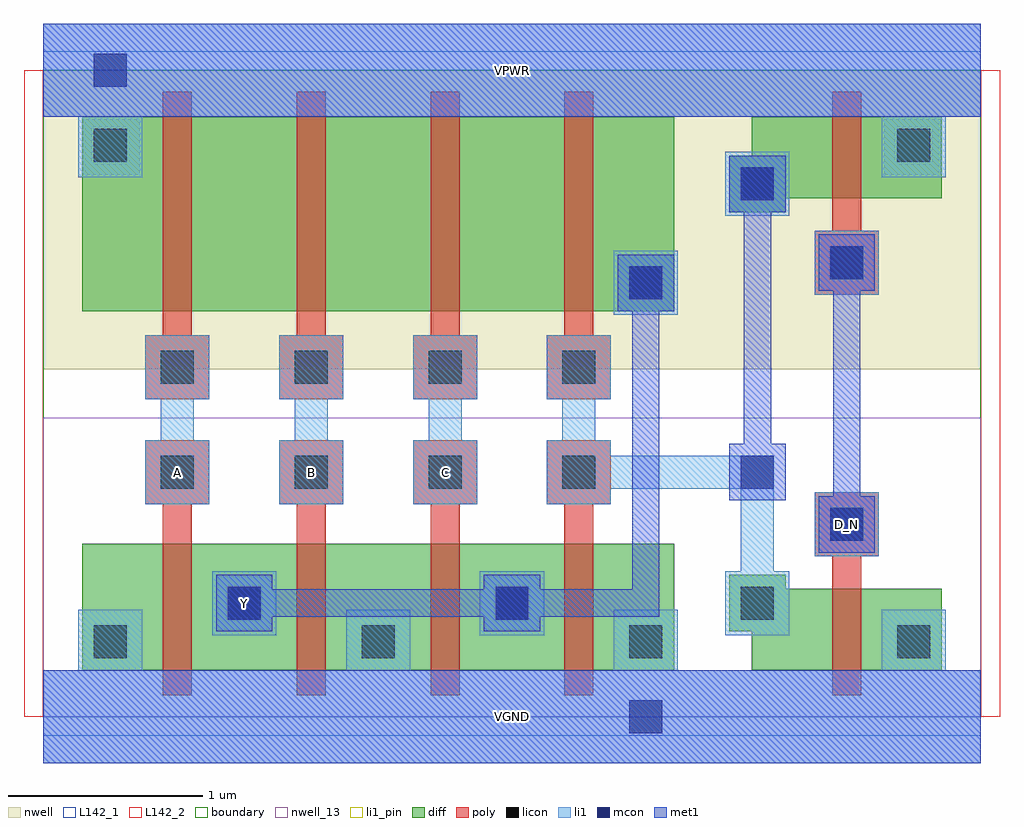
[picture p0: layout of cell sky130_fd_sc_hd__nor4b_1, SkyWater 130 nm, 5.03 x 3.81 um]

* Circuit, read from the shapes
.subckt sky130_fd_sc_hd__nor4b_1 A B C D_N VGND VPWR Y
XM1 Y A VGND VSUBS sky130_fd_pr__nfet_01v8 w=0.65 l=0.15
XM2 VGND B Y VSUBS sky130_fd_pr__nfet_01v8 w=0.65 l=0.15
XM3 Y C VGND VSUBS sky130_fd_pr__nfet_01v8 w=0.65 l=0.15
XM4 VGND n1 Y VSUBS sky130_fd_pr__nfet_01v8 w=0.65 l=0.15
XM5 VGND D_N n1 VSUBS sky130_fd_pr__nfet_01v8 w=0.42 l=0.15
XM6 n2 A VPWR n3 sky130_fd_pr__pfet_01v8 w=1 l=0.15
XM7 n4 B n2 n3 sky130_fd_pr__pfet_01v8 w=1 l=0.15
XM8 n5 C n4 n3 sky130_fd_pr__pfet_01v8 w=1 l=0.15
XM9 Y n1 n5 n3 sky130_fd_pr__pfet_01v8 w=1 l=0.15
XM10 VPWR D_N n1 n3 sky130_fd_pr__pfet_01v8 w=0.42 l=0.15
.ends

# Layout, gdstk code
import gdstk
lib = gdstk.Library(unit=1e-6, precision=1e-09)
def R(c, l, rs):  # rectangles x0, y0, x1, y1
    for r in rs: c.add(gdstk.rectangle(r[:2], r[2:], *l))
def A(c, l, x, y, w, h, nx, ny, dx, dy):  # array of equal rectangles
    R(c, l, [(x+i*dx, y+j*dy, x+i*dx+w, y+j*dy+h) for i in range(nx) for j in range(ny)])
def P(c, l, *ps):  # polygons
    for p in ps: c.add(gdstk.Polygon(p, *l))
nwell_13 = (64, 13)
nwell = (64, 20)
diff = (65, 20)
poly = (66, 20)
licon = (66, 44)
li1_pin = (67, 16)
li1 = (67, 20)
mcon = (67, 44)
met1 = (68, 20)
L142_1 = (142, 1)
L142_2 = (142, 2)
boundary = (235, 4)

sky130_fd_sc_hd__nor4b_1 = lib.new_cell('sky130_fd_sc_hd__nor4b_1')
R(sky130_fd_sc_hd__nor4b_1, nwell_13, [(0,0,4.83,1.54)])
R(sky130_fd_sc_hd__nor4b_1, nwell, [(0,1.79,4.83,3.33)])
A(sky130_fd_sc_hd__nor4b_1, diff, 0.615, 0.24, 0.69, 0.65, 3, 1, 0.69, 0)
A(sky130_fd_sc_hd__nor4b_1, diff, 0.615, 2.09, 0.69, 1, 3, 1, 0.69, 0)
R(sky130_fd_sc_hd__nor4b_1, diff, [(0.2,0.24,3.25,0.89), (0.2,0.24,0.615,0.89), (2.685,0.24,3.25,0.89), (3.65,0.24,4.63,0.66), (4.065,0.24,4.63,0.66), (0.2,2.09,3.25,3.09), (0.2,2.09,0.615,3.09), (2.685,2.09,3.25,3.09), (3.65,2.67,4.63,3.09), (4.065,2.67,4.63,3.09)])
P(sky130_fd_sc_hd__nor4b_1, diff, [(3.65,0.24),(3.65,0.44),(3.535,0.44),(3.535,0.73),(3.825,0.73),(3.825,0.66),(4.065,0.66),(4.065,0.24)],
  [(3.535,2.6),(3.535,2.89),(3.65,2.89),(3.65,3.09),(4.065,3.09),(4.065,2.67),(3.825,2.67),(3.825,2.6)])
P(sky130_fd_sc_hd__nor4b_1, poly, [(1.305,0.11),(1.305,1.095),(1.215,1.095),(1.215,1.425),(1.545,1.425),(1.545,1.095),(1.455,1.095),(1.455,0.11)],
  [(1.215,1.635),(1.215,1.965),(1.305,1.965),(1.305,3.22),(1.455,3.22),(1.455,1.965),(1.545,1.965),(1.545,1.635)],
  [(2.685,0.11),(2.685,1.095),(2.595,1.095),(2.595,1.425),(2.925,1.425),(2.925,1.095),(2.835,1.095),(2.835,0.11)],
  [(2.595,1.635),(2.595,1.965),(2.685,1.965),(2.685,3.22),(2.835,3.22),(2.835,1.965),(2.925,1.965),(2.925,1.635)],
  [(4.065,0.11),(4.065,0.825),(3.975,0.825),(3.975,1.155),(4.305,1.155),(4.305,0.825),(4.215,0.825),(4.215,0.11)],
  [(3.975,2.175),(3.975,2.505),(4.065,2.505),(4.065,3.22),(4.215,3.22),(4.215,2.505),(4.305,2.505),(4.305,2.175)],
  [(1.995,0.11),(1.995,1.095),(1.905,1.095),(1.905,1.425),(2.235,1.425),(2.235,1.095),(2.145,1.095),(2.145,0.11)],
  [(1.905,1.635),(1.905,1.965),(1.995,1.965),(1.995,3.22),(2.145,3.22),(2.145,1.965),(2.235,1.965),(2.235,1.635)],
  [(0.615,0.11),(0.615,1.095),(0.525,1.095),(0.525,1.425),(0.855,1.425),(0.855,1.095),(0.765,1.095),(0.765,0.11)],
  [(0.525,1.635),(0.525,1.965),(0.615,1.965),(0.615,3.22),(0.765,3.22),(0.765,1.965),(0.855,1.965),(0.855,1.635)])
A(sky130_fd_sc_hd__nor4b_1, licon, 0.26, 0.3, 0.17, 0.17, 4, 1, 1.38, 0)
A(sky130_fd_sc_hd__nor4b_1, licon, 0.605, 1.175, 0.17, 0.17, 4, 2, 0.69, 0.54)
R(sky130_fd_sc_hd__nor4b_1, licon, [(0.95,0.5,1.12,0.67), (2.33,0.5,2.5,0.67), (3.595,0.5,3.765,0.67), (4.055,0.905,4.225,1.075), (3.02,2.15,3.19,2.32), (4.055,2.255,4.225,2.425), (3.595,2.66,3.765,2.83), (0.26,2.86,0.43,3.03), (4.4,2.86,4.57,3.03)])
R(sky130_fd_sc_hd__nor4b_1, li1_pin, [(0,-0.24,4.83,0.24), (0.87,0.42,1.2,0.75), (3.975,0.825,4.305,1.155), (0,3.09,4.83,3.57)])
P(sky130_fd_sc_hd__nor4b_1, li1_pin, [(0.525,1.095),(0.525,1.425),(0.605,1.425),(0.605,1.635),(0.525,1.635),(0.525,1.965),(0.855,1.965),(0.855,1.635),(0.775,1.635),(0.775,1.425),(0.855,1.425),(0.855,1.095)],
  [(1.905,1.095),(1.905,1.425),(1.985,1.425),(1.985,1.635),(1.905,1.635),(1.905,1.965),(2.235,1.965),(2.235,1.635),(2.155,1.635),(2.155,1.425),(2.235,1.425),(2.235,1.095)],
  [(1.215,1.095),(1.215,1.425),(1.295,1.425),(1.295,1.635),(1.215,1.635),(1.215,1.965),(1.545,1.965),(1.545,1.635),(1.465,1.635),(1.465,1.425),(1.545,1.425),(1.545,1.095)])
R(sky130_fd_sc_hd__nor4b_1, li1, [(0.87,0.42,1.2,0.75), (2.25,0.42,2.58,0.75), (3.975,0.825,4.305,1.155), (2.94,2.07,3.27,2.4), (3.975,2.175,4.305,2.505), (3.515,2.58,3.845,2.91)])
P(sky130_fd_sc_hd__nor4b_1, li1, [(1.215,1.095),(1.215,1.425),(1.295,1.425),(1.295,1.635),(1.215,1.635),(1.215,1.965),(1.545,1.965),(1.545,1.635),(1.465,1.635),(1.465,1.425),(1.545,1.425),(1.545,1.095)],
  [(3.515,0.42),(3.515,0.75),(3.595,0.75),(3.595,1.175),(2.925,1.175),(2.925,1.095),(2.595,1.095),(2.595,1.425),(2.675,1.425),(2.675,1.635),(2.595,1.635),(2.595,1.965),(2.925,1.965),(2.925,1.635),(2.845,1.635),(2.845,1.425),(2.925,1.425),(2.925,1.345),(3.765,1.345),(3.765,0.75),(3.845,0.75),(3.845,0.42)],
  [(0.18,2.78),(0.18,3.09),(0,3.09),(0,3.57),(4.83,3.57),(4.83,3.09),(4.65,3.09),(4.65,2.78),(4.32,2.78),(4.32,3.09),(0.51,3.09),(0.51,2.78)],
  [(1.905,1.095),(1.905,1.425),(1.985,1.425),(1.985,1.635),(1.905,1.635),(1.905,1.965),(2.235,1.965),(2.235,1.635),(2.155,1.635),(2.155,1.425),(2.235,1.425),(2.235,1.095)],
  [(0,-0.24),(0,0.24),(0.18,0.24),(0.18,0.55),(0.51,0.55),(0.51,0.24),(1.56,0.24),(1.56,0.55),(1.89,0.55),(1.89,0.24),(2.94,0.24),(2.94,0.55),(3.27,0.55),(3.27,0.24),(4.32,0.24),(4.32,0.55),(4.65,0.55),(4.65,0.24),(4.83,0.24),(4.83,-0.24)],
  [(0.525,1.095),(0.525,1.425),(0.605,1.425),(0.605,1.635),(0.525,1.635),(0.525,1.965),(0.855,1.965),(0.855,1.635),(0.775,1.635),(0.775,1.425),(0.855,1.425),(0.855,1.095)])
R(sky130_fd_sc_hd__nor4b_1, mcon, [(3.02,-0.085,3.19,0.085), (0.95,0.5,1.12,0.67), (2.33,0.5,2.5,0.67), (4.055,0.905,4.225,1.075), (3.595,1.175,3.765,1.345), (3.02,2.15,3.19,2.32), (4.055,2.255,4.225,2.425), (3.595,2.66,3.765,2.83), (0.26,3.245,0.43,3.415)])
R(sky130_fd_sc_hd__nor4b_1, met1, [(0,-0.24,4.83,0.24), (0,3.09,4.83,3.57)])
P(sky130_fd_sc_hd__nor4b_1, met1, [(0.89,0.44),(0.89,0.73),(1.18,0.73),(1.18,0.655),(2.27,0.655),(2.27,0.73),(2.56,0.73),(2.56,0.655),(3.035,0.655),(3.035,2.09),(2.96,2.09),(2.96,2.38),(3.25,2.38),(3.25,2.09),(3.175,2.09),(3.175,0.515),(2.56,0.515),(2.56,0.44),(2.27,0.44),(2.27,0.515),(1.18,0.515),(1.18,0.44)],
  [(3.535,1.115),(3.535,1.405),(3.61,1.405),(3.61,2.6),(3.535,2.6),(3.535,2.89),(3.825,2.89),(3.825,2.6),(3.75,2.6),(3.75,1.405),(3.825,1.405),(3.825,1.115)],
  [(3.995,0.845),(3.995,1.135),(4.07,1.135),(4.07,2.195),(3.995,2.195),(3.995,2.485),(4.285,2.485),(4.285,2.195),(4.21,2.195),(4.21,1.135),(4.285,1.135),(4.285,0.845)])
R(sky130_fd_sc_hd__nor4b_1, L142_1, [(0,-0.1,4.83,0), (0,3.33,4.83,3.43)])
R(sky130_fd_sc_hd__nor4b_1, L142_2, [(-0.1,0,0,3.33), (4.83,0,4.93,3.33)])
R(sky130_fd_sc_hd__nor4b_1, boundary, [(0,0,4.83,3.33)])
sky130_fd_sc_hd__nor4b_1.add(gdstk.Label('Y', (1.035,0.585), layer=67, texttype=5))
sky130_fd_sc_hd__nor4b_1.add(gdstk.Label('A', (0.69,1.26), layer=67, texttype=5))
sky130_fd_sc_hd__nor4b_1.add(gdstk.Label('C', (2.07,1.26), layer=67, texttype=5))
sky130_fd_sc_hd__nor4b_1.add(gdstk.Label('B', (1.38,1.26), layer=67, texttype=5))
sky130_fd_sc_hd__nor4b_1.add(gdstk.Label('D_N', (4.14,0.99), layer=67, texttype=5))
sky130_fd_sc_hd__nor4b_1.add(gdstk.Label('VGND', (2.415,0), layer=67, texttype=5))
sky130_fd_sc_hd__nor4b_1.add(gdstk.Label('VPWR', (2.415,3.33), layer=67, texttype=5))
sky130_fd_sc_hd__nor4b_1.add(gdstk.Label('VGND', (2.415,0), layer=68, texttype=5))
sky130_fd_sc_hd__nor4b_1.add(gdstk.Label('VPWR', (2.415,3.33), layer=68, texttype=5))

lib.write_gds('sky130_fd_sc_hd__nor4b_1.gds')
